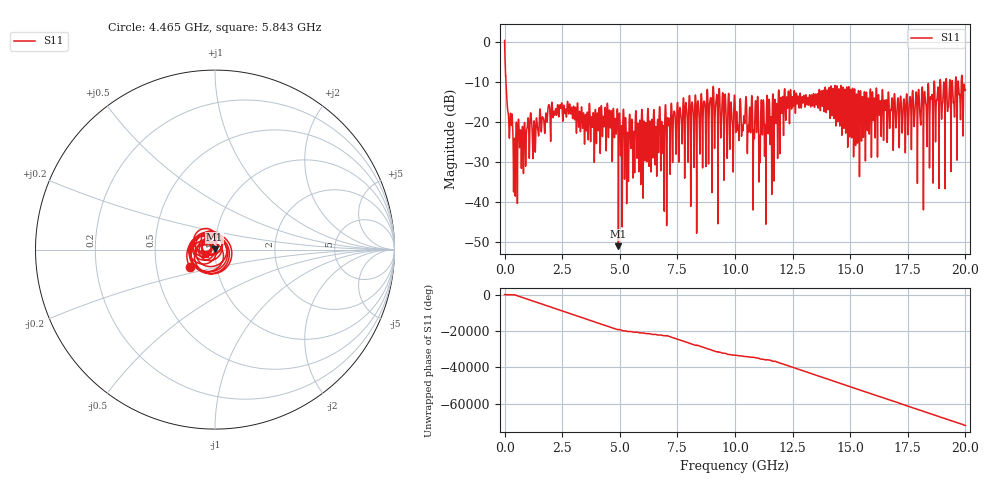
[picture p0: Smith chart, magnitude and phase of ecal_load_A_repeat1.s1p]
! MS46122B
! 2250307/22442219
! 7/21/2025 12:11:05 PM
! C:\USERS\SPARKY\DOCUMENTS\VNA_DATA\JULY21_2025\295K\ECAL_LOAD_A_REPEAT1.S1P
! CHANNEL.1
! TR.MEASUREMENT
! RAW.DATA
# GHZ S RI R 50.0
! FREQ.GHZ  S11RE  S11IM
!; PortSelection: Port_1
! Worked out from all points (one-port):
!   10001 points, 1 MHz to 20 GHz, reference 50 ohm
!   lowest |S11| = -51.0 dB at 4.941 GHz (marker M1), VSWR 1.01, Z = 49.7 + j0.108 ohm
!   |S11| at or under -10 dB: 59.56 MHz to 18.64 GHz (18.58 GHz wide, 199 % of centre); 18.66 GHz to 18.9 GHz (238.3 MHz wide, 1.27 % of centre); 18.92 GHz to 19.07 GHz (143.4 MHz wide, 0.755 % of centre) (the widest 3 of 10)
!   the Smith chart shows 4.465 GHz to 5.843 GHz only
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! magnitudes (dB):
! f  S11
! 1 MHz  0.4
! 145 MHz  -17.3
! 469 MHz  -34.4
! 585 MHz  -20.9
! 823 MHz  -31.2
! 1.079 GHz  -27.5
! 1.273 GHz  -20.1
! 2.501 GHz  -16.9
! 4.941 GHz  -51.0
! 5.001 GHz  -18.7
! 5.293 GHz  -33.5
! 5.445 GHz  -19.2
! 6.731 GHz  -16.2
! 6.855 GHz  -27.7
! 7.307 GHz  -23.4
! 7.501 GHz  -15.1
! 9.127 GHz  -21.6
! 9.185 GHz  -14.2
! 10 GHz  -14.8
! 10.86 GHz  -19.8
! 10.92 GHz  -19.7
! 11.11 GHz  -20.1
! 11.46 GHz  -16.2
! 11.61 GHz  -20.3
! 12.5 GHz  -13.8
! 15 GHz  -14.3
! 17.5 GHz  -20.4
! 20 GHz  -12.0
